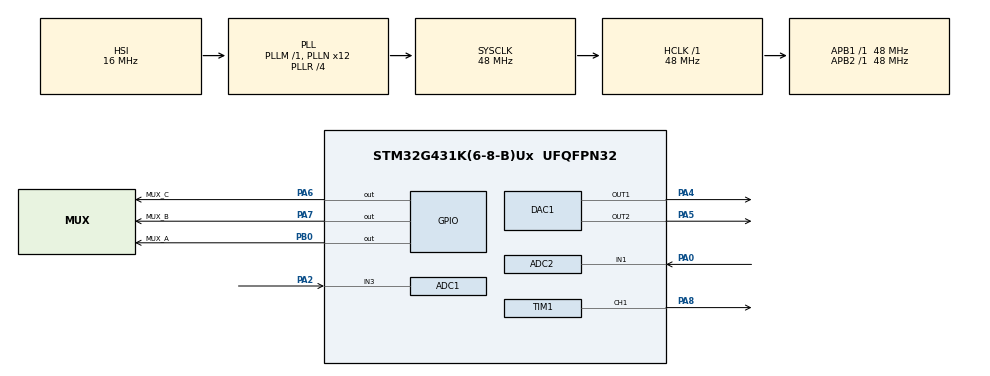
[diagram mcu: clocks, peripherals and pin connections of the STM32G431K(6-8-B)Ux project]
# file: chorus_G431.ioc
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ADC1.Channel-0\#ChannelRegularConversion=ADC_CHANNEL_3
ADC1.ContinuousConvMode=DISABLE
ADC1.DMAContinuousRequests=ENABLE
ADC1.ExternalTrigConv=ADC_EXTERNALTRIG_T3_TRGO
ADC1.NbrOfConversion=1
ADC1.NbrOfConversionFlag=1
ADC1.OffsetNumber-0\#ChannelRegularConversion=ADC_OFFSET_NONE
ADC1.Rank-0\#ChannelRegularConversion=1
ADC1.SamplingTime-0\#ChannelRegularConversion=ADC_SAMPLETIME_24CYCLES_5
ADC1.master=1
ADC2.Channel-1\#ChannelRegularConversion=ADC_CHANNEL_1
ADC2.ContinuousConvMode=DISABLE
ADC2.DMAContinuousRequests=ENABLE
ADC2.ExternalTrigConv=ADC_EXTERNALTRIG_T2_TRGO
ADC2.NbrOfConversionFlag=1
ADC2.OffsetNumber-1\#ChannelRegularConversion=ADC_OFFSET_NONE
ADC2.Rank-1\#ChannelRegularConversion=1
ADC2.SamplingTime-1\#ChannelRegularConversion=ADC_SAMPLETIME_2CYCLES_5
DAC1.DAC_Channel-DAC_OUT2=DAC_CHANNEL_2
DAC1.DAC_SampleAndHold-DAC_OUT1=DAC_SAMPLEANDHOLD_DISABLE
DAC1.DAC_SampleAndHold-DAC_OUT2=DAC_SAMPLEANDHOLD_DISABLE
Dma.ADC1.0.Direction=DMA_PERIPH_TO_MEMORY
Dma.ADC1.0.EventEnable=DISABLE
Dma.ADC1.0.Instance=DMA1_Channel2
Dma.ADC1.0.MemDataAlignment=DMA_MDATAALIGN_HALFWORD
Dma.ADC1.0.MemInc=DMA_MINC_DISABLE
Dma.ADC1.0.Mode=DMA_CIRCULAR
Dma.ADC1.0.PeriphDataAlignment=DMA_PDATAALIGN_HALFWORD
Dma.ADC1.0.PeriphInc=DMA_PINC_DISABLE
Dma.ADC1.0.Polarity=HAL_DMAMUX_REQ_GEN_RISING
Dma.ADC1.0.Priority=DMA_PRIORITY_LOW
Dma.ADC1.0.RequestNumber=1
Dma.ADC1.0.SignalID=NONE
Dma.ADC1.0.SyncEnable=DISABLE
Dma.ADC1.0.SyncPolarity=HAL_DMAMUX_SYNC_NO_EVENT
Dma.ADC1.0.SyncRequestNumber=1
Dma.ADC1.0.SyncSignalID=NONE
Dma.ADC2.1.Direction=DMA_PERIPH_TO_MEMORY
Dma.ADC2.1.EventEnable=DISABLE
Dma.ADC2.1.Instance=DMA1_Channel1
Dma.ADC2.1.MemDataAlignment=DMA_MDATAALIGN_HALFWORD
Dma.ADC2.1.MemInc=DMA_MINC_DISABLE
Dma.ADC2.1.Mode=DMA_CIRCULAR
Dma.ADC2.1.PeriphDataAlignment=DMA_PDATAALIGN_HALFWORD
Dma.ADC2.1.PeriphInc=DMA_PINC_DISABLE
Dma.ADC2.1.Polarity=HAL_DMAMUX_REQ_GEN_RISING
Dma.ADC2.1.Priority=DMA_PRIORITY_LOW
Dma.ADC2.1.RequestNumber=1
Dma.ADC2.1.SignalID=NONE
Dma.ADC2.1.SyncEnable=DISABLE
Dma.ADC2.1.SyncPolarity=HAL_DMAMUX_SYNC_NO_EVENT
Dma.ADC2.1.SyncRequestNumber=1
Dma.ADC2.1.SyncSignalID=NONE
Dma.Request0=ADC1
Dma.Request1=ADC2
Mcu.Family=STM32G4
Mcu.Name=STM32G431K(6-8-B)Ux
Mcu.Package=UFQFPN32
NVIC.DMA1_Channel1_IRQn=true\:1\:0\:true\:false\:true\:false\:true\:true
NVIC.DMA1_Channel2_IRQn=true\:2\:0\:true\:false\:true\:false\:true\:true
NVIC.PriorityGroup=NVIC_PRIORITYGROUP_4
NVIC.TIM2_IRQn=true\:0\:0\:false\:false\:true\:true\:true\:true
NVIC.TIM3_IRQn=true\:2\:0\:true\:false\:true\:true\:true\:true
PA0.Mode=IN1-Single-Ended
PA0.Signal=ADC2_IN1
PA2.Mode=IN3-Single-Ended
PA2.Signal=ADC1_IN3
PA4.Signal=COMP_DAC11_group
PA5.Signal=COMP_DAC12_group
PA6.GPIO_Label=MUX_C
PA6.Signal=GPIO_Output
PA7.GPIO_Label=MUX_B
PA7.Signal=GPIO_Output
PA8.Signal=S_TIM1_CH1
PB0.GPIO_Label=MUX_A
PB0.Signal=GPIO_Output
ProjectManager.HeapSize=0x00
ProjectManager.StackSize=0x400
ProjectManager.TargetToolchain=STM32CubeIDE
RCC.ADC12Freq_Value=48000000
RCC.AHBFreq_Value=48000000
RCC.APB1Freq_Value=48000000
RCC.APB1TimFreq_Value=48000000
RCC.APB2Freq_Value=48000000
RCC.APB2TimFreq_Value=48000000
RCC.CortexFreq_Value=48000000
RCC.EXTERNAL_CLOCK_VALUE=12288000
RCC.HCLKFreq_Value=48000000
RCC.HSE_VALUE=8000000
RCC.HSI48_VALUE=48000000
RCC.HSI_VALUE=16000000
RCC.LSE_VALUE=32768
RCC.PLLN=12
RCC.PLLR=RCC_PLLR_DIV4
RCC.SYSCLKFreq_VALUE=48000000
RCC.SYSCLKSource=RCC_SYSCLKSOURCE_PLLCLK
RCC.USBFreq_Value=96000000
RCC.VCOOutputFreq_Value=192000000
SH.COMP_DAC11_group.0=DAC1_OUT1,DAC_OUT1
SH.COMP_DAC12_group.0=DAC1_OUT2,DAC_OUT2
SH.S_TIM1_CH1.0=TIM1_CH1,PWM Generation1 CH1
TIM1.Channel-PWM\ Generation1\ CH1=TIM_CHANNEL_1
TIM1.PeriodNoDither=4096
TIM1.Prescaler=200
TIM1.PulseNoDither_1=512
TIM2.PeriodNoDither=960
TIM2.TIM_MasterOutputTrigger=TIM_TRGO_UPDATE
TIM3.PeriodNoDither=6400
TIM3.TIM_MasterOutputTrigger=TIM_TRGO_UPDATE
VP_SYS_VS_DBSignals.Mode=DisableDeadBatterySignals
VP_TIM1_VS_ClockSourceINT.Mode=Internal
VP_TIM2_VS_ClockSourceINT.Mode=Internal
VP_TIM3_VS_ClockSourceINT.Mode=Internal
board=custom

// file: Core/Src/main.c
/* USER CODE BEGIN Header */
/**
 ******************************************************************************
 * @file           : main.c
 * @brief          : Main program body
 ******************************************************************************
 * @attention
 *
 * Copyright (c) 2022 STMicroelectronics.
 * All rights reserved.
 *
 * This software is licensed under terms that can be found in the LICENSE file
 * in the root directory of this software component.
 * If no LICENSE file comes with this software, it is provided AS-IS.
 *
 ******************************************************************************
 */
/* USER CODE END Header */
#include "main.h"
#include "adc.h"
#include "dac.h"
#include "dma.h"
#include "tim.h"
#include "gpio.h"

/* USER CODE BEGIN Includes */
#include "chorus.h"
/* USER CODE END Includes */

/* USER CODE BEGIN PV */
volatile uint8_t mux_channel;

/* USER CODE END PV */

void SystemClock_Config(void);
/* USER CODE BEGIN PFP */
void DWT_Start();
/* USER CODE END PFP */

int main(void)
{

  /* MCU Configuration--------------------------------------------------------*/

  /* Reset of all peripherals, Initializes the Flash interface and the Systick. */
  HAL_Init();

  /* Configure the system clock */
  SystemClock_Config();

  /* Initialize all configured peripherals */
  MX_GPIO_Init();
  MX_DMA_Init();
  MX_ADC1_Init();
  MX_ADC2_Init();
  MX_DAC1_Init();
  MX_TIM2_Init();
  MX_TIM1_Init();
  MX_TIM3_Init();
  /* USER CODE BEGIN 2 */
	DAC_Start();
	ADC1_Start();
	ADC2_Start();
	TIM1_Start();
	TIM2_Start();
	TIM3_Start();
	DWT_Start();
	chorus_init();
  /* USER CODE END 2 */

  /* Infinite loop */
	while (1) {

	}
}

void SystemClock_Config(void)
{
  RCC_OscInitTypeDef RCC_OscInitStruct = {0};
  RCC_ClkInitTypeDef RCC_ClkInitStruct = {0};

  /** Configure the main internal regulator output voltage
  */
  HAL_PWREx_ControlVoltageScaling(PWR_REGULATOR_VOLTAGE_SCALE1);
  /** Initializes the RCC Oscillators according to the specified parameters
  * in the RCC_OscInitTypeDef structure.
  */
  RCC_OscInitStruct.OscillatorType = RCC_OSCILLATORTYPE_HSI;
  RCC_OscInitStruct.HSIState = RCC_HSI_ON;
  RCC_OscInitStruct.HSICalibrationValue = RCC_HSICALIBRATION_DEFAULT;
  RCC_OscInitStruct.PLL.PLLState = RCC_PLL_ON;
  RCC_OscInitStruct.PLL.PLLSource = RCC_PLLSOURCE_HSI;
  RCC_OscInitStruct.PLL.PLLM = RCC_PLLM_DIV1;
  RCC_OscInitStruct.PLL.PLLN = 12;
  RCC_OscInitStruct.PLL.PLLP = RCC_PLLP_DIV2;
  RCC_OscInitStruct.PLL.PLLQ = RCC_PLLQ_DIV2;
  RCC_OscInitStruct.PLL.PLLR = RCC_PLLR_DIV4;
  if (HAL_RCC_OscConfig(&RCC_OscInitStruct) != HAL_OK)
  {
    Error_Handler();
  }
  /** Initializes the CPU, AHB and APB buses clocks
  */
  RCC_ClkInitStruct.ClockType = RCC_CLOCKTYPE_HCLK|RCC_CLOCKTYPE_SYSCLK
                              |RCC_CLOCKTYPE_PCLK1|RCC_CLOCKTYPE_PCLK2;
  RCC_ClkInitStruct.SYSCLKSource = RCC_SYSCLKSOURCE_PLLCLK;
  RCC_ClkInitStruct.AHBCLKDivider = RCC_SYSCLK_DIV1;
  RCC_ClkInitStruct.APB1CLKDivider = RCC_HCLK_DIV1;
  RCC_ClkInitStruct.APB2CLKDivider = RCC_HCLK_DIV1;

  if (HAL_RCC_ClockConfig(&RCC_ClkInitStruct, FLASH_LATENCY_1) != HAL_OK)
  {
    Error_Handler();
  }
}

/* USER CODE BEGIN 4 */

void HAL_ADC_ConvCpltCallback(ADC_HandleTypeDef *hadc) {

	if (hadc->Instance == ADC1) {

		ADC1_channel_data[mux_channel++] = ADC1_raw_data;
		if (mux_channel > NUM_ADC1_CHANNELS) {
			mux_channel = 0;
		}

		HAL_GPIO_WritePin(MUX_A_GPIO_Port, MUX_A_Pin,
				(GPIO_PinState) (mux_channel & 1));
		HAL_GPIO_WritePin(MUX_B_GPIO_Port, MUX_B_Pin,
				(GPIO_PinState) ((mux_channel >> 1) & 1));
		HAL_GPIO_WritePin(MUX_C_GPIO_Port, MUX_C_Pin,
				(GPIO_PinState) ((mux_channel >> 2) & 1));

	}
}

void DWT_Start() {
	CoreDebug->DEMCR |= CoreDebug_DEMCR_TRCENA_Msk;
	DWT->CYCCNT = 0;
	DWT->CTRL |= DWT_CTRL_CYCCNTENA_Msk;
}

/* USER CODE END 4 */

void Error_Handler(void)
{
	__disable_irq();
	while (1) {
	}
}
